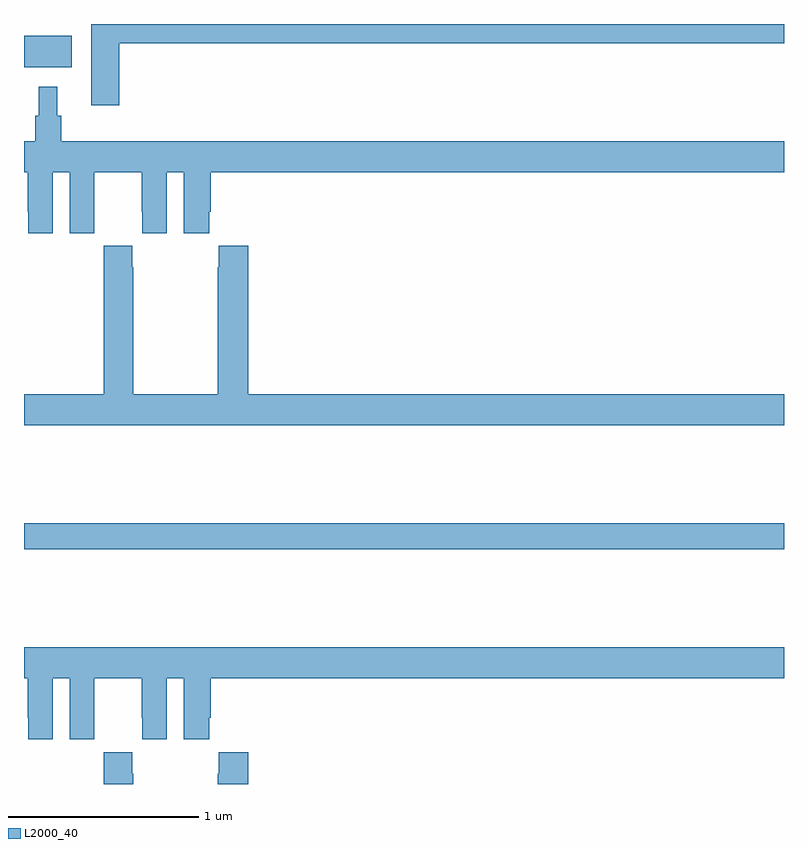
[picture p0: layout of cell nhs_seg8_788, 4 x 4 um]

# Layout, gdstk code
import gdstk
lib = gdstk.Library(unit=1e-6, precision=1e-09)
def R(c, l, rs):  # rectangles x0, y0, x1, y1
    for r in rs: c.add(gdstk.rectangle(r[:2], r[2:], *l))
def P(c, l, *ps):  # polygons
    for p in ps: c.add(gdstk.Polygon(p, *l))
L2000_40 = (2000, 40)

nhs_seg8_788 = lib.new_cell('nhs_seg8_788')
R(nhs_seg8_788, L2000_40, [(161,1161.136,165,1161.272), (161,1163.672,161.251,1163.838)])
P(nhs_seg8_788, L2000_40, [(161.501,1163.8),(165,1163.8),(165,1163.9),(161.354,1163.9),(161.354,1163.472),(161.501,1163.472)],
  [(161.078,1163.569),(161.078,1163.418),(161.059,1163.418),(161.059,1163.284),(161,1163.284),(161,1163.12),(161.021,1163.12),(161.021,1162.912),(161.022,1162.912),(161.022,1162.8),(161.152,1162.8),(161.152,1163.12),(161.24,1163.12),(161.24,1162.8),(161.37,1162.8),(161.37,1162.912),(161.371,1162.912),(161.371,1163.12),(161.621,1163.12),(161.621,1162.912),(161.622,1162.912),(161.622,1162.8),(161.752,1162.8),(161.752,1163.12),(161.84,1163.12),(161.84,1162.8),(161.974,1162.8),(161.974,1162.912),(161.984,1162.912),(161.984,1163.12),(165,1163.12),(165,1163.284),(161.195,1163.284),(161.195,1163.418),(161.176,1163.418),(161.176,1163.569)],
  [(165,1161.952),(162.179,1161.952),(162.179,1162.732),(162.025,1162.732),(162.025,1162.619),(162.019,1162.619),(162.019,1161.952),(161.574,1161.952),(161.574,1162.619),(161.571,1162.619),(161.571,1162.732),(161.421,1162.732),(161.421,1162.619),(161.419,1162.619),(161.419,1161.952),(161,1161.952),(161,1161.788),(165,1161.788)],
  [(161.152,1160.456),(161.24,1160.456),(161.24,1160.136),(161.37,1160.136),(161.37,1160.248),(161.371,1160.248),(161.371,1160.456),(161.621,1160.456),(161.621,1160.248),(161.622,1160.248),(161.622,1160.136),(161.752,1160.136),(161.752,1160.456),(161.84,1160.456),(161.84,1160.136),(161.974,1160.136),(161.974,1160.248),(161.984,1160.248),(161.984,1160.456),(165,1160.456),(165,1160.62),(161,1160.62),(161,1160.456),(161.021,1160.456),(161.021,1160.248),(161.022,1160.248),(161.022,1160.136),(161.152,1160.136)],
  [(161.574,1159.955),(161.571,1159.955),(161.571,1160.068),(161.421,1160.068),(161.421,1159.955),(161.419,1159.955),(161.419,1159.9),(161.574,1159.9)],
  [(162.179,1160.068),(162.025,1160.068),(162.025,1159.955),(162.019,1159.955),(162.019,1159.9),(162.179,1159.9)])

lib.write_gds('nhs_seg8_788.gds')
